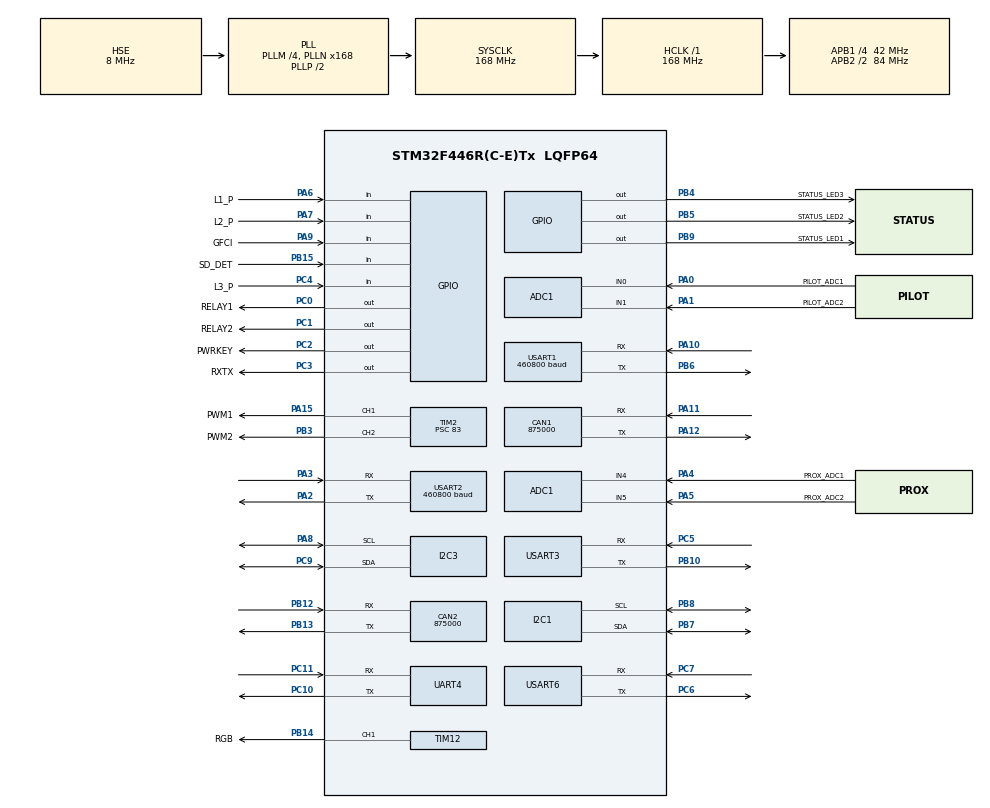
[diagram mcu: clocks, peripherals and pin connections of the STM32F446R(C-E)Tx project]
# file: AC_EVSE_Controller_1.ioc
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ADC1.Channel-0\#ChannelRegularConversion=ADC_CHANNEL_0
ADC1.Channel-1\#ChannelRegularConversion=ADC_CHANNEL_1
ADC1.Channel-2\#ChannelRegularConversion=ADC_CHANNEL_4
ADC1.Channel-3\#ChannelRegularConversion=ADC_CHANNEL_5
ADC1.ContinuousConvMode=ENABLE
ADC1.DMAContinuousRequests=ENABLE
ADC1.EOCSelection=ADC_EOC_SEQ_CONV
ADC1.ExternalTrigConv=ADC_SOFTWARE_START
ADC1.NbrOfConversion=4
ADC1.NbrOfConversionFlag=1
ADC1.Rank-0\#ChannelRegularConversion=1
ADC1.Rank-1\#ChannelRegularConversion=2
ADC1.Rank-2\#ChannelRegularConversion=3
ADC1.Rank-3\#ChannelRegularConversion=4
ADC1.SamplingTime-0\#ChannelRegularConversion=ADC_SAMPLETIME_15CYCLES
ADC1.SamplingTime-1\#ChannelRegularConversion=ADC_SAMPLETIME_15CYCLES
ADC1.SamplingTime-2\#ChannelRegularConversion=ADC_SAMPLETIME_15CYCLES
ADC1.SamplingTime-3\#ChannelRegularConversion=ADC_SAMPLETIME_15CYCLES
ADC1.master=1
CAN1.CalculateBaudRate=875000
CAN1.CalculateTimeBit=1142
CAN1.CalculateTimeQuantum=380.95238095238096
CAN2.CalculateBaudRate=875000
CAN2.CalculateTimeBit=1142
CAN2.CalculateTimeQuantum=380.95238095238096
Dma.ADC1.0.Direction=DMA_PERIPH_TO_MEMORY
Dma.ADC1.0.FIFOMode=DMA_FIFOMODE_ENABLE
Dma.ADC1.0.FIFOThreshold=DMA_FIFO_THRESHOLD_FULL
Dma.ADC1.0.Instance=DMA2_Stream0
Dma.ADC1.0.MemBurst=DMA_MBURST_SINGLE
Dma.ADC1.0.MemDataAlignment=DMA_MDATAALIGN_HALFWORD
Dma.ADC1.0.MemInc=DMA_MINC_ENABLE
Dma.ADC1.0.Mode=DMA_NORMAL
Dma.ADC1.0.PeriphBurst=DMA_PBURST_SINGLE
Dma.ADC1.0.PeriphDataAlignment=DMA_PDATAALIGN_HALFWORD
Dma.ADC1.0.PeriphInc=DMA_PINC_DISABLE
Dma.ADC1.0.Priority=DMA_PRIORITY_LOW
Dma.Request0=ADC1
Dma.Request1=USART1_RX
Dma.Request2=USART1_TX
Dma.Request3=USART2_RX
Dma.Request4=USART2_TX
Dma.USART1_RX.1.Direction=DMA_PERIPH_TO_MEMORY
Dma.USART1_RX.1.FIFOMode=DMA_FIFOMODE_ENABLE
Dma.USART1_RX.1.FIFOThreshold=DMA_FIFO_THRESHOLD_FULL
Dma.USART1_RX.1.Instance=DMA2_Stream2
Dma.USART1_RX.1.MemBurst=DMA_MBURST_SINGLE
Dma.USART1_RX.1.MemDataAlignment=DMA_MDATAALIGN_BYTE
Dma.USART1_RX.1.MemInc=DMA_MINC_ENABLE
Dma.USART1_RX.1.Mode=DMA_NORMAL
Dma.USART1_RX.1.PeriphBurst=DMA_PBURST_SINGLE
Dma.USART1_RX.1.PeriphDataAlignment=DMA_PDATAALIGN_BYTE
Dma.USART1_RX.1.PeriphInc=DMA_PINC_DISABLE
Dma.USART1_RX.1.Priority=DMA_PRIORITY_LOW
Dma.USART1_TX.2.Direction=DMA_MEMORY_TO_PERIPH
Dma.USART1_TX.2.FIFOMode=DMA_FIFOMODE_ENABLE
Dma.USART1_TX.2.FIFOThreshold=DMA_FIFO_THRESHOLD_FULL
Dma.USART1_TX.2.Instance=DMA2_Stream7
Dma.USART1_TX.2.MemBurst=DMA_MBURST_SINGLE
Dma.USART1_TX.2.MemDataAlignment=DMA_MDATAALIGN_BYTE
Dma.USART1_TX.2.MemInc=DMA_MINC_ENABLE
Dma.USART1_TX.2.Mode=DMA_NORMAL
Dma.USART1_TX.2.PeriphBurst=DMA_PBURST_SINGLE
Dma.USART1_TX.2.PeriphDataAlignment=DMA_PDATAALIGN_BYTE
Dma.USART1_TX.2.PeriphInc=DMA_PINC_DISABLE
Dma.USART1_TX.2.Priority=DMA_PRIORITY_LOW
Dma.USART2_RX.3.Direction=DMA_PERIPH_TO_MEMORY
Dma.USART2_RX.3.FIFOMode=DMA_FIFOMODE_ENABLE
Dma.USART2_RX.3.FIFOThreshold=DMA_FIFO_THRESHOLD_FULL
Dma.USART2_RX.3.Instance=DMA1_Stream5
Dma.USART2_RX.3.MemBurst=DMA_MBURST_SINGLE
Dma.USART2_RX.3.MemDataAlignment=DMA_MDATAALIGN_BYTE
Dma.USART2_RX.3.MemInc=DMA_MINC_ENABLE
Dma.USART2_RX.3.Mode=DMA_NORMAL
Dma.USART2_RX.3.PeriphBurst=DMA_PBURST_SINGLE
Dma.USART2_RX.3.PeriphDataAlignment=DMA_PDATAALIGN_BYTE
Dma.USART2_RX.3.PeriphInc=DMA_PINC_DISABLE
Dma.USART2_RX.3.Priority=DMA_PRIORITY_LOW
Dma.USART2_TX.4.Direction=DMA_MEMORY_TO_PERIPH
Dma.USART2_TX.4.FIFOMode=DMA_FIFOMODE_DISABLE
Dma.USART2_TX.4.Instance=DMA1_Stream6
Dma.USART2_TX.4.MemDataAlignment=DMA_MDATAALIGN_BYTE
Dma.USART2_TX.4.MemInc=DMA_MINC_ENABLE
Dma.USART2_TX.4.Mode=DMA_NORMAL
Dma.USART2_TX.4.PeriphDataAlignment=DMA_PDATAALIGN_BYTE
Dma.USART2_TX.4.PeriphInc=DMA_PINC_DISABLE
Dma.USART2_TX.4.Priority=DMA_PRIORITY_LOW
FREERTOS.Queues01=uartTx,4,uartTxData_t,0,Static,uartTxBuffer,uartTxControlBlock;qSimcomRx,4,simcomRx_t,0,Static,qSimcomBuffer,qSimcomControlBlock;simRespMessage,16,uint32_t,0,Static,simRespMessageBuffer,simRespMessageControlBlock;adcQ,4,adcInput_t,0,Static,adcQBuffer,adcQControlBlock
FREERTOS.Tasks01=defaultTask,24,128,StartDefaultTask,Default,NULL,Dynamic,NULL,NULL;parcer,24,1024,parcerTask,As external,(void*)&simcomHandler,Dynamic,NULL,NULL;ocppTx,24,512,ocppTxTask,As external,NULL,Static,ocppTxBuffer,ocppTxControlBlock;ocpp,24,1024,ocppTask,As external,NULL,Dynamic,NULL,NULL;evse,8,128,evseTask,As external,NULL,Static,evseBuffer,evseControlBlock
FREERTOS.configGENERATE_RUN_TIME_STATS=1
FREERTOS.configUSE_NEWLIB_REENTRANT=1
FREERTOS.configUSE_STATS_FORMATTING_FUNCTIONS=1
Mcu.Family=STM32F4
Mcu.Name=STM32F446R(C-E)Tx
Mcu.Package=LQFP64
NVIC.ADC_IRQn=true\:5\:0\:false\:false\:true\:true\:true\:true\:true
NVIC.DMA1_Stream5_IRQn=true\:5\:0\:false\:false\:true\:true\:false\:true\:true
NVIC.DMA1_Stream6_IRQn=true\:5\:0\:false\:false\:true\:true\:false\:true\:true
NVIC.DMA2_Stream0_IRQn=true\:5\:0\:false\:false\:true\:true\:false\:true\:true
NVIC.DMA2_Stream2_IRQn=true\:5\:0\:false\:false\:true\:true\:false\:true\:true
NVIC.DMA2_Stream7_IRQn=true\:5\:0\:false\:false\:true\:true\:false\:true\:true
NVIC.PriorityGroup=NVIC_PRIORITYGROUP_4
NVIC.TIM2_IRQn=true\:5\:0\:false\:false\:true\:true\:true\:true\:true
NVIC.TIM6_DAC_IRQn=true\:15\:0\:false\:false\:true\:false\:false\:true\:true
NVIC.TIM7_IRQn=true\:5\:0\:false\:false\:true\:true\:true\:true\:true
NVIC.TIM8_UP_TIM13_IRQn=true\:5\:0\:false\:false\:true\:true\:true\:true\:true
NVIC.TimeBase=TIM6_DAC_IRQn
NVIC.TimeBaseIP=TIM6
NVIC.USART1_IRQn=true\:5\:0\:false\:false\:true\:true\:true\:true\:true
NVIC.USART2_IRQn=true\:5\:0\:false\:false\:true\:true\:true\:true\:true
PA0-WKUP.GPIO_Label=PILOT_ADC1
PA0-WKUP.Signal=ADCx_IN0
PA1.GPIO_Label=PILOT_ADC2
PA1.Signal=ADCx_IN1
PA10.Mode=Asynchronous
PA10.Signal=USART1_RX
PA11.Mode=CAN_Activate
PA11.Signal=CAN1_RX
PA12.Mode=CAN_Activate
PA12.Signal=CAN1_TX
PA13.Mode=Serial_Wire
PA13.Signal=SYS_JTMS-SWDIO
PA14.Mode=Serial_Wire
PA14.Signal=SYS_JTCK-SWCLK
PA15.GPIO_Label=PWM1
PA15.Signal=S_TIM2_CH1_ETR
PA2.Mode=Asynchronous
PA2.Signal=USART2_TX
PA3.Mode=Asynchronous
PA3.Signal=USART2_RX
PA4.GPIO_Label=PROX_ADC1
PA4.Signal=ADCx_IN4
PA5.GPIO_Label=PROX_ADC2
PA5.Signal=ADCx_IN5
PA6.GPIO_Label=L1_P
PA6.Signal=GPIO_Input
PA7.GPIO_Label=L2_P
PA7.Signal=GPIO_Input
PA8.Mode=I2C
PA8.Signal=I2C3_SCL
PA9.GPIO_Label=GFCI
PA9.Signal=GPIO_Input
PB10.Mode=Asynchronous
PB10.Signal=USART3_TX
PB12.Mode=CAN_Activate
PB12.Signal=CAN2_RX
PB13.Mode=CAN_Activate
PB13.Signal=CAN2_TX
PB14.GPIO_Label=RGB
PB14.Signal=S_TIM12_CH1
PB15.GPIO_Label=SD_DET
PB15.Signal=GPIO_Input
PB3.GPIO_Label=PWM2
PB3.Signal=S_TIM2_CH2
PB4.GPIO_Label=STATUS_LED3
PB4.Signal=GPIO_Output
PB5.GPIO_Label=STATUS_LED2
PB5.Signal=GPIO_Output
PB6.Mode=Asynchronous
PB6.Signal=USART1_TX
PB7.Mode=I2C
PB7.Signal=I2C1_SDA
PB8.Mode=I2C
PB8.Signal=I2C1_SCL
PB9.GPIO_Label=STATUS_LED1
PB9.Signal=GPIO_Output
PC0.GPIO_Label=RELAY1
PC0.PinState=GPIO_PIN_RESET
PC0.Signal=GPIO_Output
PC1.GPIO_Label=RELAY2
PC1.PinState=GPIO_PIN_RESET
PC1.Signal=GPIO_Output
PC10.Mode=Asynchronous
PC10.Signal=UART4_TX
PC11.Mode=Asynchronous
PC11.Signal=UART4_RX
PC2.GPIO_Label=PWRKEY
PC2.Signal=GPIO_Output
PC3.GPIO_Label=RXTX
PC3.Signal=GPIO_Output
PC4.GPIO_Label=L3_P
PC4.Signal=GPIO_Input
PC5.Mode=Asynchronous
PC5.Signal=USART3_RX
PC6.Mode=Asynchronous
PC6.Signal=USART6_TX
PC7.Mode=Asynchronous
PC7.Signal=USART6_RX
PC9.Mode=I2C
PC9.Signal=I2C3_SDA
PH0-OSC_IN.Mode=HSE-External-Oscillator
PH0-OSC_IN.Signal=RCC_OSC_IN
PH1-OSC_OUT.Mode=HSE-External-Oscillator
PH1-OSC_OUT.Signal=RCC_OSC_OUT
ProjectManager.HeapSize=0x2000
ProjectManager.StackSize=0x4000
ProjectManager.TargetToolchain=STM32CubeIDE
RCC.AHBFreq_Value=168000000
RCC.APB1CLKDivider=RCC_HCLK_DIV4
RCC.APB1Freq_Value=42000000
RCC.APB1TimFreq_Value=84000000
RCC.APB2CLKDivider=RCC_HCLK_DIV2
RCC.APB2Freq_Value=84000000
RCC.APB2TimFreq_Value=168000000
RCC.CortexFreq_Value=168000000
RCC.HCLKFreq_Value=168000000
RCC.HSE_VALUE=8000000
RCC.PLLM=4
RCC.PLLN=168
RCC.PLLQ=7
RCC.PLLSourceVirtual=RCC_PLLSOURCE_HSE
RCC.RCC_RTC_Clock_SourceVirtual=RCC_RTCCLKSOURCE_HSE_DIV8
RCC.RCC_RTC_Clock_Source_FROM_HSE=RCC_RTCCLKSOURCE_HSE_DIV8
RCC.SYSCLKFreq_VALUE=168000000
RCC.SYSCLKSource=RCC_SYSCLKSOURCE_PLLCLK
RCC.USBFreq_Value=48000000
RCC.VCOOutputFreq_Value=336000000
RTC.AsynchPrediv=124
RTC.Date=27
RTC.Format=RTC_FORMAT_BIN
RTC.Hours=11
RTC.Minutes=51
RTC.Month=RTC_MONTH_DECEMBER
RTC.SynchPrediv=7999
RTC.WeekDay=RTC_WEEKDAY_TUESDAY
RTC.Year=22
SH.ADCx_IN0.0=ADC1_IN0,IN0
SH.ADCx_IN1.0=ADC1_IN1,IN1
SH.ADCx_IN4.0=ADC1_IN4,IN4
SH.ADCx_IN5.0=ADC1_IN5,IN5
SH.S_TIM12_CH1.0=TIM12_CH1,PWM Generation1 CH1
SH.S_TIM2_CH1_ETR.0=TIM2_CH1,PWM Generation1 CH1
SH.S_TIM2_CH2.0=TIM2_CH2,PWM Generation2 CH2
TIM10.Prescaler=167
TIM12.Channel-PWM\ Generation1\ CH1=TIM_CHANNEL_1
TIM2.Channel-PWM\ Generation1\ CH1=TIM_CHANNEL_1
TIM2.Channel-PWM\ Generation2\ CH2=TIM_CHANNEL_2
TIM2.Period=999
TIM2.Prescaler=83
TIM2.Pulse-PWM\ Generation1\ CH1=499
TIM2.TIM_MasterOutputTrigger=TIM_TRGO_OC3REF
TIM2.TIM_MasterSlaveMode=TIM_MASTERSLAVEMODE_DISABLE
TIM7.Period=99
TIM7.Prescaler=83
TIM8.AutoReloadPreload=TIM_AUTORELOAD_PRELOAD_DISABLE
TIM8.Period=999
TIM8.Prescaler=167
TIM8.TIM_MasterOutputTrigger=TIM_TRGO_RESET
UART4.VirtualMode=Asynchronous
USART1.BaudRate=460800
USART1.VirtualMode=VM_ASYNC
USART2.BaudRate=460800
USART2.VirtualMode=VM_ASYNC
USART3.VirtualMode=VM_ASYNC
USART6.VirtualMode=VM_ASYNC
VP_FREERTOS_VS_CMSIS_V2.Mode=CMSIS_V2
VP_RTC_VS_RTC_Activate.Mode=RTC_Enabled
VP_RTC_VS_RTC_Calendar.Mode=RTC_Calendar
VP_SYS_VS_tim6.Mode=TIM6
VP_TIM10_VS_ClockSourceINT.Mode=Enable_Timer
VP_TIM11_VS_ClockSourceINT.Mode=Enable_Timer
VP_TIM12_VS_ClockSourceINT.Mode=Internal
VP_TIM1_VS_ClockSourceINT.Mode=Internal
VP_TIM7_VS_ClockSourceINT.Mode=Enable_Timer
VP_TIM8_VS_ClockSourceINT.Mode=Internal
board=custom

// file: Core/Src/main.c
/* USER CODE BEGIN Header */
/**
 ******************************************************************************
 * @file           : main.c
 * @brief          : Main program body
 ******************************************************************************
 * @attention
 *
 * Copyright (c) 2022 STMicroelectronics.
 * All rights reserved.
 *
 * This software is licensed under terms that can be found in the LICENSE file
 * in the root directory of this software component.
 * If no LICENSE file comes with this software, it is provided AS-IS.
 *
 ******************************************************************************
 */
/* USER CODE END Header */
#include "main.h"
#include "cmsis_os.h"

/* USER CODE BEGIN Includes */
#include "sim7600.h"
#include "websocket.h"
#include <time.h>
#include <stdlib.h>
#include "ocpp.h"
#include "evse.h"

/* USER CODE END Includes */

typedef StaticTask_t osStaticThreadDef_t;
typedef StaticQueue_t osStaticMessageQDef_t;

ADC_HandleTypeDef hadc1;
DMA_HandleTypeDef hdma_adc1;

CAN_HandleTypeDef hcan1;
CAN_HandleTypeDef hcan2;

I2C_HandleTypeDef hi2c1;
I2C_HandleTypeDef hi2c3;

RTC_HandleTypeDef hrtc;

TIM_HandleTypeDef htim1;
TIM_HandleTypeDef htim2;
TIM_HandleTypeDef htim7;
TIM_HandleTypeDef htim8;
TIM_HandleTypeDef htim10;
TIM_HandleTypeDef htim11;
TIM_HandleTypeDef htim12;

UART_HandleTypeDef huart4;
UART_HandleTypeDef huart1;
UART_HandleTypeDef huart2;
UART_HandleTypeDef huart3;
UART_HandleTypeDef huart6;
DMA_HandleTypeDef hdma_usart1_rx;
DMA_HandleTypeDef hdma_usart1_tx;
DMA_HandleTypeDef hdma_usart2_rx;
DMA_HandleTypeDef hdma_usart2_tx;

/* Definitions for defaultTask */
osThreadId_t defaultTaskHandle;
const osThreadAttr_t defaultTask_attributes = {
  .name = "defaultTask",
  .stack_size = 128 * 4,
  .priority = (osPriority_t) osPriorityNormal,
};
/* Definitions for parcer */
osThreadId_t parcerHandle;
const osThreadAttr_t parcer_attributes = {
  .name = "parcer",
  .stack_size = 1024 * 4,
  .priority = (osPriority_t) osPriorityNormal,
};
/* Definitions for ocppTx */
osThreadId_t ocppTxHandle;
uint32_t ocppTxBuffer[ 512 ];
osStaticThreadDef_t ocppTxControlBlock;
const osThreadAttr_t ocppTx_attributes = {
  .name = "ocppTx",
  .cb_mem = &ocppTxControlBlock,
  .cb_size = sizeof(ocppTxControlBlock),
  .stack_mem = &ocppTxBuffer[0],
  .stack_size = sizeof(ocppTxBuffer),
  .priority = (osPriority_t) osPriorityNormal,
};
/* Definitions for ocpp */
osThreadId_t ocppHandle;
const osThreadAttr_t ocpp_attributes = {
  .name = "ocpp",
  .stack_size = 1024 * 4,
  .priority = (osPriority_t) osPriorityNormal,
};
/* Definitions for evse */
osThreadId_t evseHandle;
uint32_t evseBuffer[ 128 ];
osStaticThreadDef_t evseControlBlock;
const osThreadAttr_t evse_attributes = {
  .name = "evse",
  .cb_mem = &evseControlBlock,
  .cb_size = sizeof(evseControlBlock),
  .stack_mem = &evseBuffer[0],
  .stack_size = sizeof(evseBuffer),
  .priority = (osPriority_t) osPriorityLow,
};
/* Definitions for uartTx */
osMessageQueueId_t uartTxHandle;
uint8_t uartTxBuffer[ 4 * sizeof( uartTxData_t ) ];
osStaticMessageQDef_t uartTxControlBlock;
const osMessageQueueAttr_t uartTx_attributes = {
  .name = "uartTx",
  .cb_mem = &uartTxControlBlock,
  .cb_size = sizeof(uartTxControlBlock),
  .mq_mem = &uartTxBuffer,
  .mq_size = sizeof(uartTxBuffer)
};
/* Definitions for qSimcomRx */
osMessageQueueId_t qSimcomRxHandle;
uint8_t qSimcomBuffer[ 4 * sizeof( simcomRx_t ) ];
osStaticMessageQDef_t qSimcomControlBlock;
const osMessageQueueAttr_t qSimcomRx_attributes = {
  .name = "qSimcomRx",
  .cb_mem = &qSimcomControlBlock,
  .cb_size = sizeof(qSimcomControlBlock),
  .mq_mem = &qSimcomBuffer,
  .mq_size = sizeof(qSimcomBuffer)
};
/* Definitions for simRespMessage */
osMessageQueueId_t simRespMessageHandle;
uint8_t simRespMessageBuffer[ 16 * sizeof( uint32_t ) ];
osStaticMessageQDef_t simRespMessageControlBlock;
const osMessageQueueAttr_t simRespMessage_attributes = {
  .name = "simRespMessage",
  .cb_mem = &simRespMessageControlBlock,
  .cb_size = sizeof(simRespMessageControlBlock),
  .mq_mem = &simRespMessageBuffer,
  .mq_size = sizeof(simRespMessageBuffer)
};
/* Definitions for adcQ */
osMessageQueueId_t adcQHandle;
uint8_t adcQBuffer[ 4 * sizeof( adcInput_t ) ];
osStaticMessageQDef_t adcQControlBlock;
const osMessageQueueAttr_t adcQ_attributes = {
  .name = "adcQ",
  .cb_mem = &adcQControlBlock,
  .cb_size = sizeof(adcQControlBlock),
  .mq_mem = &adcQBuffer,
  .mq_size = sizeof(adcQBuffer)
};
/* USER CODE BEGIN PV */

RTC_TimeTypeDef sTime = {0};
RTC_DateTypeDef sDate = {0};
volatile unsigned long ulHighFrequencyTimerTicks;
volatile uint16_t secCounter = 0;
volatile uint16_t pingPongCounter = 0;

volatile uint32_t queueFreeSpace = 0;
int8_t testResponse = 0;

volatile uint8_t highLowFlag = 0;
/* USER CODE END PV */

void SystemClock_Config(void);
static void MX_GPIO_Init(void);
static void MX_DMA_Init(void);
static void MX_CAN1_Init(void);
static void MX_CAN2_Init(void);
static void MX_I2C1_Init(void);
static void MX_USART1_UART_Init(void);
static void MX_USART2_UART_Init(void);
static void MX_UART4_Init(void);
static void MX_USART3_UART_Init(void);
static void MX_ADC1_Init(void);
static void MX_I2C3_Init(void);
static void MX_TIM2_Init(void);
static void MX_TIM8_Init(void);
static void MX_TIM11_Init(void);
static void MX_TIM12_Init(void);
static void MX_USART6_UART_Init(void);
static void MX_RTC_Init(void);
static void MX_TIM1_Init(void);
static void MX_TIM10_Init(void);
static void MX_TIM7_Init(void);
void StartDefaultTask(void *argument);
extern void parcerTask(void *argument);
extern void ocppTxTask(void *argument);
extern void ocppTask(void *argument);
extern void evseTask(void *argument);

int main(void)
{

  /* MCU Configuration--------------------------------------------------------*/

  /* Reset of all peripherals, Initializes the Flash interface and the Systick. */
  HAL_Init();

  /* Configure the system clock */
  SystemClock_Config();

  /* Initialize all configured peripherals */
  MX_GPIO_Init();
  MX_DMA_Init();
  MX_CAN1_Init();
  MX_CAN2_Init();
  MX_I2C1_Init();
  MX_USART1_UART_Init();
  MX_USART2_UART_Init();
  MX_UART4_Init();
  MX_USART3_UART_Init();
  MX_ADC1_Init();
  MX_I2C3_Init();
  MX_TIM2_Init();
  MX_TIM8_Init();
  MX_TIM11_Init();
  MX_TIM12_Init();
  MX_USART6_UART_Init();
  MX_RTC_Init();
  MX_TIM1_Init();
  MX_TIM10_Init();
  MX_TIM7_Init();
  /* USER CODE BEGIN 2 */
  HAL_UARTEx_ReceiveToIdle_DMA(&huart1, (uint8_t*)simcomHandler.simcomRxData.simcomRxBuf, RX_BUFFER_SIZE);
  HAL_TIM_Base_Start(&htim10);
  HAL_TIM_PWM_Start_IT(&htim2, TIM_CHANNEL_1);
  HAL_TIM_Base_Start_IT(&htim2);
  configureTimerForRunTimeStats();
  /* USER CODE END 2 */

  /* Init scheduler */
  osKernelInitialize();

  /* Create the queue(s) */
  /* creation of uartTx */
  uartTxHandle = osMessageQueueNew (4, sizeof(uartTxData_t), &uartTx_attributes);

  /* creation of qSimcomRx */
  qSimcomRxHandle = osMessageQueueNew (4, sizeof(simcomRx_t), &qSimcomRx_attributes);

  /* creation of simRespMessage */
  simRespMessageHandle = osMessageQueueNew (16, sizeof(uint32_t), &simRespMessage_attributes);

  /* creation of adcQ */
  adcQHandle = osMessageQueueNew (4, sizeof(adcInput_t), &adcQ_attributes);

  /* Create the thread(s) */
  /* creation of defaultTask */
  defaultTaskHandle = osThreadNew(StartDefaultTask, NULL, &defaultTask_attributes);

  /* creation of parcer */
  parcerHandle = osThreadNew(parcerTask, (void*)&simcomHandler, &parcer_attributes);

  /* creation of ocppTx */
  ocppTxHandle = osThreadNew(ocppTxTask, NULL, &ocppTx_attributes);

  /* creation of ocpp */
  ocppHandle = osThreadNew(ocppTask, NULL, &ocpp_attributes);

  /* creation of evse */
  evseHandle = osThreadNew(evseTask, NULL, &evse_attributes);

  /* Start scheduler */
  osKernelStart();

  /* We should never get here as control is now taken by the scheduler */
  /* Infinite loop */
	while (1) {

	}
}

void SystemClock_Config(void)
{
  RCC_OscInitTypeDef RCC_OscInitStruct = {0};
  RCC_ClkInitTypeDef RCC_ClkInitStruct = {0};

  /** Configure the main internal regulator output voltage
  */
  __HAL_RCC_PWR_CLK_ENABLE();
  __HAL_PWR_VOLTAGESCALING_CONFIG(PWR_REGULATOR_VOLTAGE_SCALE1);

  /** Initializes the RCC Oscillators according to the specified parameters
  * in the RCC_OscInitTypeDef structure.
  */
  RCC_OscInitStruct.OscillatorType = RCC_OSCILLATORTYPE_HSE;
  RCC_OscInitStruct.HSEState = RCC_HSE_ON;
  RCC_OscInitStruct.LSEState = RCC_LSE_OFF;
  RCC_OscInitStruct.PLL.PLLState = RCC_PLL_ON;
  RCC_OscInitStruct.PLL.PLLSource = RCC_PLLSOURCE_HSE;
  RCC_OscInitStruct.PLL.PLLM = 4;
  RCC_OscInitStruct.PLL.PLLN = 168;
  RCC_OscInitStruct.PLL.PLLP = RCC_PLLP_DIV2;
  RCC_OscInitStruct.PLL.PLLQ = 7;
  RCC_OscInitStruct.PLL.PLLR = 2;
  if (HAL_RCC_OscConfig(&RCC_OscInitStruct) != HAL_OK)
  {
    Error_Handler();
  }

  /** Initializes the CPU, AHB and APB buses clocks
  */
  RCC_ClkInitStruct.ClockType = RCC_CLOCKTYPE_HCLK|RCC_CLOCKTYPE_SYSCLK
                              |RCC_CLOCKTYPE_PCLK1|RCC_CLOCKTYPE_PCLK2;
  RCC_ClkInitStruct.SYSCLKSource = RCC_SYSCLKSOURCE_PLLCLK;
  RCC_ClkInitStruct.AHBCLKDivider = RCC_SYSCLK_DIV1;
  RCC_ClkInitStruct.APB1CLKDivider = RCC_HCLK_DIV4;
  RCC_ClkInitStruct.APB2CLKDivider = RCC_HCLK_DIV2;

  if (HAL_RCC_ClockConfig(&RCC_ClkInitStruct, FLASH_LATENCY_5) != HAL_OK)
  {
    Error_Handler();
  }
}

static void MX_ADC1_Init(void)
{

  ADC_ChannelConfTypeDef sConfig = {0};

  /** Configure the global features of the ADC (Clock, Resolution, Data Alignment and number of conversion)
  */
  hadc1.Instance = ADC1;
  hadc1.Init.ClockPrescaler = ADC_CLOCK_SYNC_PCLK_DIV4;
  hadc1.Init.Resolution = ADC_RESOLUTION_12B;
  hadc1.Init.ScanConvMode = ENABLE;
  hadc1.Init.ContinuousConvMode = ENABLE;
  hadc1.Init.DiscontinuousConvMode = DISABLE;
  hadc1.Init.ExternalTrigConvEdge = ADC_EXTERNALTRIGCONVEDGE_NONE;
  hadc1.Init.ExternalTrigConv = ADC_SOFTWARE_START;
  hadc1.Init.DataAlign = ADC_DATAALIGN_RIGHT;
  hadc1.Init.NbrOfConversion = 4;
  hadc1.Init.DMAContinuousRequests = ENABLE;
  hadc1.Init.EOCSelection = ADC_EOC_SEQ_CONV;
  if (HAL_ADC_Init(&hadc1) != HAL_OK)
  {
    Error_Handler();
  }

  /** Configure for the selected ADC regular channel its corresponding rank in the sequencer and its sample time.
  */
  sConfig.Channel = ADC_CHANNEL_0;
  sConfig.Rank = 1;
  sConfig.SamplingTime = ADC_SAMPLETIME_15CYCLES;
  if (HAL_ADC_ConfigChannel(&hadc1, &sConfig) != HAL_OK)
  {
    Error_Handler();
  }

  /** Configure for the selected ADC regular channel its corresponding rank in the sequencer and its sample time.
  */
  sConfig.Channel = ADC_CHANNEL_1;
  sConfig.Rank = 2;
  if (HAL_ADC_ConfigChannel(&hadc1, &sConfig) != HAL_OK)
  {
    Error_Handler();
  }

  /** Configure for the selected ADC regular channel its corresponding rank in the sequencer and its sample time.
  */
  sConfig.Channel = ADC_CHANNEL_4;
  sConfig.Rank = 3;
  if (HAL_ADC_ConfigChannel(&hadc1, &sConfig) != HAL_OK)
  {
    Error_Handler();
  }

  /** Configure for the selected ADC regular channel its corresponding rank in the sequencer and its sample time.
  */
  sConfig.Channel = ADC_CHANNEL_5;
  sConfig.Rank = 4;
  if (HAL_ADC_ConfigChannel(&hadc1, &sConfig) != HAL_OK)
  {
    Error_Handler();
  }

}

static void MX_CAN1_Init(void)
{

  hcan1.Instance = CAN1;
  hcan1.Init.Prescaler = 16;
  hcan1.Init.Mode = CAN_MODE_NORMAL;
  hcan1.Init.SyncJumpWidth = CAN_SJW_1TQ;
  hcan1.Init.TimeSeg1 = CAN_BS1_1TQ;
  hcan1.Init.TimeSeg2 = CAN_BS2_1TQ;
  hcan1.Init.TimeTriggeredMode = DISABLE;
  hcan1.Init.AutoBusOff = DISABLE;
  hcan1.Init.AutoWakeUp = DISABLE;
  hcan1.Init.AutoRetransmission = DISABLE;
  hcan1.Init.ReceiveFifoLocked = DISABLE;
  hcan1.Init.TransmitFifoPriority = DISABLE;
  if (HAL_CAN_Init(&hcan1) != HAL_OK)
  {
    Error_Handler();
  }

}

static void MX_CAN2_Init(void)
{

  hcan2.Instance = CAN2;
  hcan2.Init.Prescaler = 16;
  hcan2.Init.Mode = CAN_MODE_NORMAL;
  hcan2.Init.SyncJumpWidth = CAN_SJW_1TQ;
  hcan2.Init.TimeSeg1 = CAN_BS1_1TQ;
  hcan2.Init.TimeSeg2 = CAN_BS2_1TQ;
  hcan2.Init.TimeTriggeredMode = DISABLE;
  hcan2.Init.AutoBusOff = DISABLE;
  hcan2.Init.AutoWakeUp = DISABLE;
  hcan2.Init.AutoRetransmission = DISABLE;
  hcan2.Init.ReceiveFifoLocked = DISABLE;
  hcan2.Init.TransmitFifoPriority = DISABLE;
  if (HAL_CAN_Init(&hcan2) != HAL_OK)
  {
    Error_Handler();
  }

}

static void MX_I2C1_Init(void)
{

  hi2c1.Instance = I2C1;
  hi2c1.Init.ClockSpeed = 100000;
  hi2c1.Init.DutyCycle = I2C_DUTYCYCLE_2;
  hi2c1.Init.OwnAddress1 = 0;
  hi2c1.Init.AddressingMode = I2C_ADDRESSINGMODE_7BIT;
  hi2c1.Init.DualAddressMode = I2C_DUALADDRESS_DISABLE;
  hi2c1.Init.OwnAddress2 = 0;
  hi2c1.Init.GeneralCallMode = I2C_GENERALCALL_DISABLE;
  hi2c1.Init.NoStretchMode = I2C_NOSTRETCH_DISABLE;
  if (HAL_I2C_Init(&hi2c1) != HAL_OK)
  {
    Error_Handler();
  }

}

static void MX_I2C3_Init(void)
{

  hi2c3.Instance = I2C3;
  hi2c3.Init.ClockSpeed = 100000;
  hi2c3.Init.DutyCycle = I2C_DUTYCYCLE_2;
  hi2c3.Init.OwnAddress1 = 0;
  hi2c3.Init.AddressingMode = I2C_ADDRESSINGMODE_7BIT;
  hi2c3.Init.DualAddressMode = I2C_DUALADDRESS_DISABLE;
  hi2c3.Init.OwnAddress2 = 0;
  hi2c3.Init.GeneralCallMode = I2C_GENERALCALL_DISABLE;
  hi2c3.Init.NoStretchMode = I2C_NOSTRETCH_DISABLE;
  if (HAL_I2C_Init(&hi2c3) != HAL_OK)
  {
    Error_Handler();
  }

}

static void MX_RTC_Init(void)
{

  RTC_TimeTypeDef sTime = {0};
  RTC_DateTypeDef sDate = {0};

  /** Initialize RTC Only
  */
  hrtc.Instance = RTC;
  hrtc.Init.HourFormat = RTC_HOURFORMAT_24;
  hrtc.Init.AsynchPrediv = 124;
  hrtc.Init.SynchPrediv = 7999;
  hrtc.Init.OutPut = RTC_OUTPUT_DISABLE;
  hrtc.Init.OutPutPolarity = RTC_OUTPUT_POLARITY_HIGH;
  hrtc.Init.OutPutType = RTC_OUTPUT_TYPE_OPENDRAIN;
  if (HAL_RTC_Init(&hrtc) != HAL_OK)
  {
    Error_Handler();
  }

  /** Initialize RTC and set the Time and Date
  */
  sTime.Hours = 11;
  sTime.Minutes = 51;
  sTime.Seconds = 0;
  sTime.DayLightSaving = RTC_DAYLIGHTSAVING_NONE;
  sTime.StoreOperation = RTC_STOREOPERATION_RESET;
  if (HAL_RTC_SetTime(&hrtc, &sTime, RTC_FORMAT_BIN) != HAL_OK)
  {
    Error_Handler();
  }
  sDate.WeekDay = RTC_WEEKDAY_TUESDAY;
  sDate.Month = RTC_MONTH_DECEMBER;
  sDate.Date = 27;
  sDate.Year = 22;

  if (HAL_RTC_SetDate(&hrtc, &sDate, RTC_FORMAT_BIN) != HAL_OK)
  {
    Error_Handler();
  }

}

static void MX_TIM1_Init(void)
{

  TIM_ClockConfigTypeDef sClockSourceConfig = {0};
  TIM_MasterConfigTypeDef sMasterConfig = {0};

  htim1.Instance = TIM1;
  htim1.Init.Prescaler = 0;
  htim1.Init.CounterMode = TIM_COUNTERMODE_UP;
  htim1.Init.Period = 65535;
  htim1.Init.ClockDivision = TIM_CLOCKDIVISION_DIV1;
  htim1.Init.RepetitionCounter = 0;
  htim1.Init.AutoReloadPreload = TIM_AUTORELOAD_PRELOAD_DISABLE;
  if (HAL_TIM_Base_Init(&htim1) != HAL_OK)
  {
    Error_Handler();
  }
  sClockSourceConfig.ClockSource = TIM_CLOCKSOURCE_INTERNAL;
  if (HAL_TIM_ConfigClockSource(&htim1, &sClockSourceConfig) != HAL_OK)
  {
    Error_Handler();
  }
  sMasterConfig.MasterOutputTrigger = TIM_TRGO_RESET;
  sMasterConfig.MasterSlaveMode = TIM_MASTERSLAVEMODE_DISABLE;
  if (HAL_TIMEx_MasterConfigSynchronization(&htim1, &sMasterConfig) != HAL_OK)
  {
    Error_Handler();
  }

}

static void MX_TIM2_Init(void)
{

  TIM_MasterConfigTypeDef sMasterConfig = {0};
  TIM_OC_InitTypeDef sConfigOC = {0};

  htim2.Instance = TIM2;
  htim2.Init.Prescaler = 83;
  htim2.Init.CounterMode = TIM_COUNTERMODE_UP;
  htim2.Init.Period = 999;
  htim2.Init.ClockDivision = TIM_CLOCKDIVISION_DIV1;
  htim2.Init.AutoReloadPreload = TIM_AUTORELOAD_PRELOAD_DISABLE;
  if (HAL_TIM_PWM_Init(&htim2) != HAL_OK)
  {
    Error_Handler();
  }
  sMasterConfig.MasterOutputTrigger = TIM_TRGO_OC3REF;
  sMasterConfig.MasterSlaveMode = TIM_MASTERSLAVEMODE_DISABLE;
  if (HAL_TIMEx_MasterConfigSynchronization(&htim2, &sMasterConfig) != HAL_OK)
  {
    Error_Handler();
  }
  sConfigOC.OCMode = TIM_OCMODE_PWM1;
  sConfigOC.Pulse = 499;
  sConfigOC.OCPolarity = TIM_OCPOLARITY_HIGH;
  sConfigOC.OCFastMode = TIM_OCFAST_DISABLE;
  if (HAL_TIM_PWM_ConfigChannel(&htim2, &sConfigOC, TIM_CHANNEL_1) != HAL_OK)
  {
    Error_Handler();
  }
  sConfigOC.Pulse = 0;
  if (HAL_TIM_PWM_ConfigChannel(&htim2, &sConfigOC, TIM_CHANNEL_2) != HAL_OK)
  {
    Error_Handler();
  }
  /* USER CODE BEGIN TIM2_Init 2 */
  __HAL_TIM_CLEAR_FLAG(&htim2, TIM_FLAG_UPDATE);
  /* USER CODE END TIM2_Init 2 */
  HAL_TIM_MspPostInit(&htim2);

}

static void MX_TIM7_Init(void)
{

  TIM_MasterConfigTypeDef sMasterConfig = {0};

  htim7.Instance = TIM7;
  htim7.Init.Prescaler = 83;
  htim7.Init.CounterMode = TIM_COUNTERMODE_UP;
  htim7.Init.Period = 99;
  htim7.Init.AutoReloadPreload = TIM_AUTORELOAD_PRELOAD_DISABLE;
  if (HAL_TIM_Base_Init(&htim7) != HAL_OK)
  {
    Error_Handler();
  }
  sMasterConfig.MasterOutputTrigger = TIM_TRGO_RESET;
  sMasterConfig.MasterSlaveMode = TIM_MASTERSLAVEMODE_DISABLE;
  if (HAL_TIMEx_MasterConfigSynchronization(&htim7, &sMasterConfig) != HAL_OK)
  {
    Error_Handler();
  }

}

static void MX_TIM8_Init(void)
{

  TIM_ClockConfigTypeDef sClockSourceConfig = {0};
  TIM_MasterConfigTypeDef sMasterConfig = {0};

  htim8.Instance = TIM8;
  htim8.Init.Prescaler = 167;
  htim8.Init.CounterMode = TIM_COUNTERMODE_UP;
  htim8.Init.Period = 999;
  htim8.Init.ClockDivision = TIM_CLOCKDIVISION_DIV1;
  htim8.Init.RepetitionCounter = 0;
  htim8.Init.AutoReloadPreload = TIM_AUTORELOAD_PRELOAD_DISABLE;
  if (HAL_TIM_Base_Init(&htim8) != HAL_OK)
  {
    Error_Handler();
  }
  sClockSourceConfig.ClockSource = TIM_CLOCKSOURCE_INTERNAL;
  if (HAL_TIM_ConfigClockSource(&htim8, &sClockSourceConfig) != HAL_OK)
  {
    Error_Handler();
  }
  sMasterConfig.MasterOutputTrigger = TIM_TRGO_RESET;
  sMasterConfig.MasterSlaveMode = TIM_MASTERSLAVEMODE_DISABLE;
  if (HAL_TIMEx_MasterConfigSynchronization(&htim8, &sMasterConfig) != HAL_OK)
  {
    Error_Handler();
  }

}

static void MX_TIM10_Init(void)
{

  htim10.Instance = TIM10;
  htim10.Init.Prescaler = 167;
  htim10.Init.CounterMode = TIM_COUNTERMODE_UP;
  htim10.Init.Period = 65535;
  htim10.Init.ClockDivision = TIM_CLOCKDIVISION_DIV1;
  htim10.Init.AutoReloadPreload = TIM_AUTORELOAD_PRELOAD_DISABLE;
  if (HAL_TIM_Base_Init(&htim10) != HAL_OK)
  {
    Error_Handler();
  }

}

static void MX_TIM11_Init(void)
{

  htim11.Instance = TIM11;
  htim11.Init.Prescaler = 0;
  htim11.Init.CounterMode = TIM_COUNTERMODE_UP;
  htim11.Init.Period = 65535;
  htim11.Init.ClockDivision = TIM_CLOCKDIVISION_DIV1;
  htim11.Init.AutoReloadPreload = TIM_AUTORELOAD_PRELOAD_DISABLE;
  if (HAL_TIM_Base_Init(&htim11) != HAL_OK)
  {
    Error_Handler();
  }

}

static void MX_TIM12_Init(void)
{

  TIM_ClockConfigTypeDef sClockSourceConfig = {0};
  TIM_OC_InitTypeDef sConfigOC = {0};

  htim12.Instance = TIM12;
  htim12.Init.Prescaler = 0;
  htim12.Init.CounterMode = TIM_COUNTERMODE_UP;
  htim12.Init.Period = 65535;
  htim12.Init.ClockDivision = TIM_CLOCKDIVISION_DIV1;
  htim12.Init.AutoReloadPreload = TIM_AUTORELOAD_PRELOAD_DISABLE;
  if (HAL_TIM_Base_Init(&htim12) != HAL_OK)
  {
    Error_Handler();
  }
  sClockSourceConfig.ClockSource = TIM_CLOCKSOURCE_INTERNAL;
  if (HAL_TIM_ConfigClockSource(&htim12, &sClockSourceConfig) != HAL_OK)
  {
    Error_Handler();
  }
  if (HAL_TIM_PWM_Init(&htim12) != HAL_OK)
  {
    Error_Handler();
  }
  sConfigOC.OCMode = TIM_OCMODE_PWM1;
  sConfigOC.Pulse = 0;
  sConfigOC.OCPolarity = TIM_OCPOLARITY_HIGH;
  sConfigOC.OCFastMode = TIM_OCFAST_DISABLE;
  if (HAL_TIM_PWM_ConfigChannel(&htim12, &sConfigOC, TIM_CHANNEL_1) != HAL_OK)
  {
    Error_Handler();
  }
  HAL_TIM_MspPostInit(&htim12);

}

static void MX_UART4_Init(void)
{

  huart4.Instance = UART4;
  huart4.Init.BaudRate = 115200;
  huart4.Init.WordLength = UART_WORDLENGTH_8B;
  huart4.Init.StopBits = UART_STOPBITS_1;
  huart4.Init.Parity = UART_PARITY_NONE;
  huart4.Init.Mode = UART_MODE_TX_RX;
  huart4.Init.HwFlowCtl = UART_HWCONTROL_NONE;
  huart4.Init.OverSampling = UART_OVERSAMPLING_16;
  if (HAL_UART_Init(&huart4) != HAL_OK)
  {
    Error_Handler();
  }

}

static void MX_USART1_UART_Init(void)
{

  huart1.Instance = USART1;
  huart1.Init.BaudRate = 460800;
  huart1.Init.WordLength = UART_WORDLENGTH_8B;
  huart1.Init.StopBits = UART_STOPBITS_1;
  huart1.Init.Parity = UART_PARITY_NONE;
  huart1.Init.Mode = UART_MODE_TX_RX;
  huart1.Init.HwFlowCtl = UART_HWCONTROL_NONE;
  huart1.Init.OverSampling = UART_OVERSAMPLING_16;
  if (HAL_UART_Init(&huart1) != HAL_OK)
  {
    Error_Handler();
  }

}

static void MX_USART2_UART_Init(void)
{

  huart2.Instance = USART2;
  huart2.Init.BaudRate = 460800;
  huart2.Init.WordLength = UART_WORDLENGTH_8B;
  huart2.Init.StopBits = UART_STOPBITS_1;
  huart2.Init.Parity = UART_PARITY_NONE;
  huart2.Init.Mode = UART_MODE_TX_RX;
  huart2.Init.HwFlowCtl = UART_HWCONTROL_NONE;
  huart2.Init.OverSampling = UART_OVERSAMPLING_16;
  if (HAL_UART_Init(&huart2) != HAL_OK)
  {
    Error_Handler();
  }

}

static void MX_USART3_UART_Init(void)
{

  huart3.Instance = USART3;
  huart3.Init.BaudRate = 115200;
  huart3.Init.WordLength = UART_WORDLENGTH_8B;
  huart3.Init.StopBits = UART_STOPBITS_1;
  huart3.Init.Parity = UART_PARITY_NONE;
  huart3.Init.Mode = UART_MODE_TX_RX;
  huart3.Init.HwFlowCtl = UART_HWCONTROL_NONE;
  huart3.Init.OverSampling = UART_OVERSAMPLING_16;
  if (HAL_UART_Init(&huart3) != HAL_OK)
  {
    Error_Handler();
  }

}

static void MX_USART6_UART_Init(void)
{

  huart6.Instance = USART6;
  huart6.Init.BaudRate = 115200;
  huart6.Init.WordLength = UART_WORDLENGTH_8B;
  huart6.Init.StopBits = UART_STOPBITS_1;
  huart6.Init.Parity = UART_PARITY_NONE;
  huart6.Init.Mode = UART_MODE_TX_RX;
  huart6.Init.HwFlowCtl = UART_HWCONTROL_NONE;
  huart6.Init.OverSampling = UART_OVERSAMPLING_16;
  if (HAL_UART_Init(&huart6) != HAL_OK)
  {
    Error_Handler();
  }

}

static void MX_DMA_Init(void)
{

  /* DMA controller clock enable */
  __HAL_RCC_DMA2_CLK_ENABLE();
  __HAL_RCC_DMA1_CLK_ENABLE();

  /* DMA interrupt init */
  /* DMA1_Stream5_IRQn interrupt configuration */
  HAL_NVIC_SetPriority(DMA1_Stream5_IRQn, 5, 0);
  HAL_NVIC_EnableIRQ(DMA1_Stream5_IRQn);
  /* DMA1_Stream6_IRQn interrupt configuration */
  HAL_NVIC_SetPriority(DMA1_Stream6_IRQn, 5, 0);
  HAL_NVIC_EnableIRQ(DMA1_Stream6_IRQn);
  /* DMA2_Stream0_IRQn interrupt configuration */
  HAL_NVIC_SetPriority(DMA2_Stream0_IRQn, 5, 0);
  HAL_NVIC_EnableIRQ(DMA2_Stream0_IRQn);
  /* DMA2_Stream2_IRQn interrupt configuration */
  HAL_NVIC_SetPriority(DMA2_Stream2_IRQn, 5, 0);
  HAL_NVIC_EnableIRQ(DMA2_Stream2_IRQn);
  /* DMA2_Stream7_IRQn interrupt configuration */
  HAL_NVIC_SetPriority(DMA2_Stream7_IRQn, 5, 0);
  HAL_NVIC_EnableIRQ(DMA2_Stream7_IRQn);

}

static void MX_GPIO_Init(void)
{
  GPIO_InitTypeDef GPIO_InitStruct = {0};

  /* GPIO Ports Clock Enable */
  __HAL_RCC_GPIOH_CLK_ENABLE();
  __HAL_RCC_GPIOC_CLK_ENABLE();
  __HAL_RCC_GPIOA_CLK_ENABLE();
  __HAL_RCC_GPIOB_CLK_ENABLE();

  /*Configure GPIO pin Output Level */
  HAL_GPIO_WritePin(GPIOC, RELAY1_Pin|RELAY2_Pin|PWRKEY_Pin|RXTX_Pin, GPIO_PIN_RESET);

  /*Configure GPIO pin Output Level */
  HAL_GPIO_WritePin(GPIOB, STATUS_LED3_Pin|STATUS_LED2_Pin|STATUS_LED1_Pin, GPIO_PIN_RESET);

  /*Configure GPIO pins : RELAY1_Pin RELAY2_Pin PWRKEY_Pin RXTX_Pin */
  GPIO_InitStruct.Pin = RELAY1_Pin|RELAY2_Pin|PWRKEY_Pin|RXTX_Pin;
  GPIO_InitStruct.Mode = GPIO_MODE_OUTPUT_PP;
  GPIO_InitStruct.Pull = GPIO_NOPULL;
  GPIO_InitStruct.Speed = GPIO_SPEED_FREQ_LOW;
  HAL_GPIO_Init(GPIOC, &GPIO_InitStruct);

  /*Configure GPIO pins : L1_P_Pin L2_P_Pin GFCI_Pin */
  GPIO_InitStruct.Pin = L1_P_Pin|L2_P_Pin|GFCI_Pin;
  GPIO_InitStruct.Mode = GPIO_MODE_INPUT;
  GPIO_InitStruct.Pull = GPIO_NOPULL;
  HAL_GPIO_Init(GPIOA, &GPIO_InitStruct);

  /*Configure GPIO pin : L3_P_Pin */
  GPIO_InitStruct.Pin = L3_P_Pin;
  GPIO_InitStruct.Mode = GPIO_MODE_INPUT;
  GPIO_InitStruct.Pull = GPIO_NOPULL;
  HAL_GPIO_Init(L3_P_GPIO_Port, &GPIO_InitStruct);

  /*Configure GPIO pin : SD_DET_Pin */
  GPIO_InitStruct.Pin = SD_DET_Pin;
  GPIO_InitStruct.Mode = GPIO_MODE_INPUT;
  GPIO_InitStruct.Pull = GPIO_NOPULL;
  HAL_GPIO_Init(SD_DET_GPIO_Port, &GPIO_InitStruct);

  /*Configure GPIO pins : STATUS_LED3_Pin STATUS_LED2_Pin STATUS_LED1_Pin */
  GPIO_InitStruct.Pin = STATUS_LED3_Pin|STATUS_LED2_Pin|STATUS_LED1_Pin;
  GPIO_InitStruct.Mode = GPIO_MODE_OUTPUT_PP;
  GPIO_InitStruct.Pull = GPIO_NOPULL;
  GPIO_InitStruct.Speed = GPIO_SPEED_FREQ_LOW;
  HAL_GPIO_Init(GPIOB, &GPIO_InitStruct);

}

/* USER CODE BEGIN 4 */
int _write(int file, char *ptr, int len)
{
	HAL_UART_Transmit(&huart2, (const uint8_t *) ptr, len, 100);
	return len;
}

void configureTimerForRunTimeStats(void)
{
    ulHighFrequencyTimerTicks = 0;
    HAL_TIM_Base_Start_IT(&htim7);
}

unsigned long getRunTimeCounterValue(void)
{
	return ulHighFrequencyTimerTicks;

}

void HAL_TIM_PWM_PulseFinishedCallback(TIM_HandleTypeDef *htim)
{
	if (htim->Instance == TIM2) {
		if (htim->Channel == HAL_TIM_ACTIVE_CHANNEL_1) {
			if (highLowFlag) {
				highLowFlag = 0;
//				HAL_TIM_Base_Start_IT(&htim8);
				HAL_ADC_Start_DMA(&hadc1, (uint32_t*)adcInputData.adcBufLow, 4);
			}
		}
	}
}

//void averageAdcBuf (uint8_t size){
//	uint8_t i = 0, j = 0;
//	uint16_t tempBufLow[ADC_BUF_SIZE] = {0};
//	uint16_t tempBufHigh[ADC_BUF_SIZE] = {0};
//	for (i = 0; i < 4; i++){
//		for (j = i; j < size; j += 4){
//			tempBufLow[i] += adcBufLow[j];
//			tempBufHigh[i] += adcBufHigh[j];
//		}
//		tempBufLow[i] /= (size/4);
//		tempBufHigh[i] /= (size/4);
//	}
//	memcpy((uint16_t*)averagedAdcBufLow, (const uint16_t*)tempBufLow, ADC_BUF_SIZE);
//	memcpy((uint16_t*)averagedAdcBufHigh, (const uint16_t*)tempBufHigh, ADC_BUF_SIZE);
//}

void HAL_ADC_ConvCpltCallback(ADC_HandleTypeDef* hadc)
{
	if (hadc->Instance == ADC1) {
		HAL_ADC_Stop(&hadc1);
		osMessageQueuePut(adcQHandle, (const void* )&adcInputData, 0, 0);
		HAL_GPIO_TogglePin(STATUS_LED2_GPIO_Port, STATUS_LED2_Pin);
	}
}

/* USER CODE END 4 */

void StartDefaultTask(void *argument)
{
  /* USER CODE BEGIN 5 */

	/* Infinite loop */
	for (;;) {

//		if (connectorStatus1 == Charging) {
//			HAL_GPIO_WritePin(STATUS_LED2_GPIO_Port, STATUS_LED2_Pin, GPIO_PIN_SET);
//		} else {
//			HAL_GPIO_WritePin(STATUS_LED2_GPIO_Port, STATUS_LED2_Pin, GPIO_PIN_RESET);
//		}
		if (connectorStatus2 == Charging) {
			HAL_GPIO_WritePin(STATUS_LED3_GPIO_Port, STATUS_LED3_Pin, GPIO_PIN_SET);
		} else {
			HAL_GPIO_WritePin(STATUS_LED3_GPIO_Port, STATUS_LED3_Pin, GPIO_PIN_RESET);
		}
		HAL_RTC_GetTime(&hrtc, &sTime, RTC_FORMAT_BIN);
		HAL_RTC_GetDate(&hrtc, &sDate, RTC_FORMAT_BIN);
		osDelay(50);
	}
  /* USER CODE END 5 */
}

void HAL_TIM_PeriodElapsedCallback(TIM_HandleTypeDef *htim)
{
  /* USER CODE BEGIN Callback 0 */
	static uint16_t counter = 0;
	static uint16_t meterValuesCounter = 0;
	static uint8_t adcCounter = 0;

  /* USER CODE END Callback 0 */
  if (htim->Instance == TIM6) {
    HAL_IncTick();
  }
  /* USER CODE BEGIN Callback 1 */
  if (htim->Instance == TIM6) {
	  if (counter++ > 999){
		  HAL_GPIO_TogglePin(STATUS_LED1_GPIO_Port, STATUS_LED1_Pin);
		  counter = 0;
		  secCounter++;
		  pingPongCounter++;
		  powerData.energy += 125;
	  }
	  if (secCounter > (Heartbeat_Interval - 1)) {
		  secCounter = 0;
		  ocpp_task |= (1 << task_Heartbeat);
	  }
	  if (getConnectorStatus(getCurrentConnector()) == Charging) {
		  if (meterValuesCounter++ > 9999) {
			  meterValuesCounter = 0;
			  ocpp_task |= (1 << task_MeterValues);
		  }
	  }
	  if (pingPongCounter > 9) {
		  pingPongCounter = 0;
		  wsSendPing("Hello");
	  }
  }
  if (htim->Instance == TIM2) {
	  if (adcCounter++ == ADC_SAMPLE_PERIOD) {
		  adcCounter = 0;
		  highLowFlag = 1;
		  HAL_ADC_Start_DMA(&hadc1, (uint32_t*)adcInputData.adcBufHigh, 4);
	  }
  }

  if (htim->Instance == TIM8) {

	  HAL_ADC_Start_DMA(&hadc1, (uint32_t*)adcInputData.adcBufHigh, 4);
  }
  /* USER CODE END Callback 1 */
}

void Error_Handler(void)
{
	__disable_irq();
	while (1) {
	}
}
